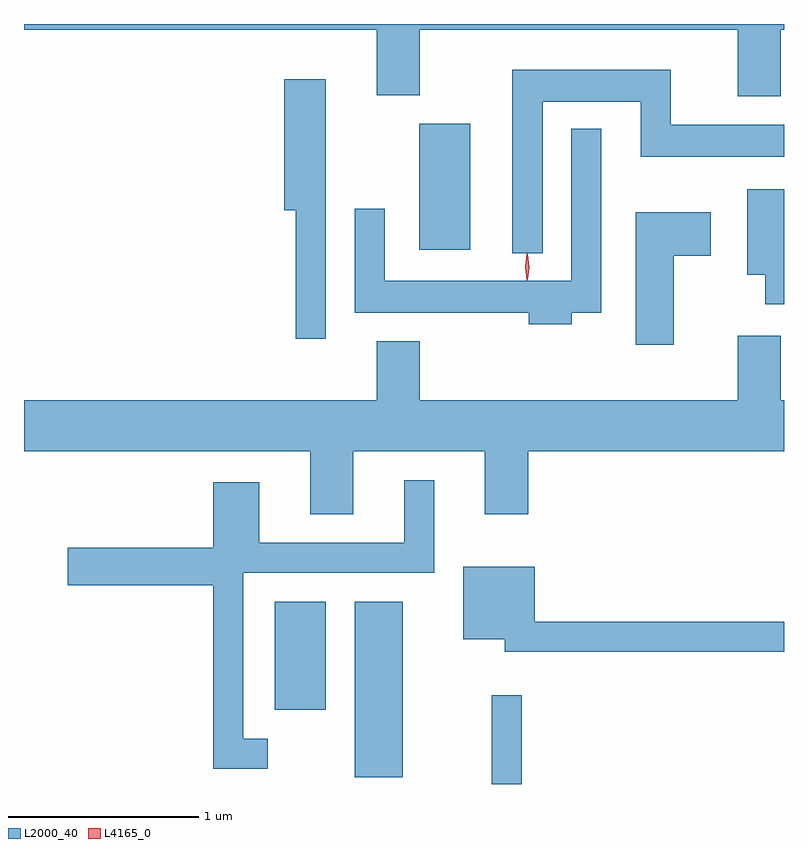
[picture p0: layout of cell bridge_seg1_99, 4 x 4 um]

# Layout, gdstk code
import gdstk
lib = gdstk.Library(unit=1e-6, precision=1e-09)
def R(c, l, rs):  # rectangles x0, y0, x1, y1
    for r in rs: c.add(gdstk.rectangle(r[:2], r[2:], *l))
def P(c, l, *ps):  # polygons
    for p in ps: c.add(gdstk.Polygon(p, *l))
L2000_40 = (2000, 40)
L4165_0 = (4165, 0)

bridge_seg1_99 = lib.new_cell('bridge_seg1_99')
R(bridge_seg1_99, L2000_40, [(1249.796,862.305,1249.954,862.773), (1249.076,862.341,1249.329,863.264), (1248.656,862.696,1248.924,863.264), (1249.416,865.116,1249.684,865.779)])
P(bridge_seg1_99, L2000_40, [(1251.319,866.276),(1251.335,866.276),(1251.335,866.305),(1247.335,866.305),(1247.335,866.276),(1249.191,866.276),(1249.191,865.931),(1249.419,865.931),(1249.419,866.276),(1251.091,866.276),(1251.091,865.926),(1251.319,865.926)],
  [(1250.064,865.896),(1250.581,865.896),(1250.581,865.606),(1251.335,865.606),(1251.335,865.774),(1250.739,865.774),(1250.739,866.064),(1249.906,866.064),(1249.906,865.098),(1250.064,865.098)],
  [(1248.924,866.014),(1248.706,866.014),(1248.706,865.326),(1248.766,865.326),(1248.766,864.648),(1248.924,864.648)],
  [(1250.219,864.786),(1250.374,864.786),(1250.374,865.753),(1250.216,865.753),(1250.216,864.954),(1249.234,864.954),(1249.234,865.333),(1249.076,865.333),(1249.076,864.786),(1249.991,864.786),(1249.991,864.726),(1250.219,864.726)],
  [(1251.335,865.434),(1251.141,865.434),(1251.141,864.986),(1251.236,864.986),(1251.236,864.831),(1251.335,864.831)],
  [(1250.754,865.086),(1250.949,865.086),(1250.949,865.314),(1250.556,865.314),(1250.556,864.616),(1250.754,864.616)],
  [(1249.069,864.056),(1249.761,864.056),(1249.761,863.726),(1249.989,863.726),(1249.989,864.056),(1251.335,864.056),(1251.335,864.324),(1251.319,864.324),(1251.319,864.664),(1251.091,864.664),(1251.091,864.324),(1249.419,864.324),(1249.419,864.634),(1249.191,864.634),(1249.191,864.324),(1247.335,864.324),(1247.335,864.056),(1248.841,864.056),(1248.841,863.726),(1249.069,863.726)],
  [(1248.618,862.544),(1248.489,862.544),(1248.489,863.416),(1249.494,863.416),(1249.494,863.903),(1249.336,863.903),(1249.336,863.574),(1248.574,863.574),(1248.574,863.894),(1248.331,863.894),(1248.331,863.549),(1247.566,863.549),(1247.566,863.351),(1248.331,863.351),(1248.331,862.386),(1248.618,862.386)],
  [(1251.335,863.159),(1250.024,863.159),(1250.024,863.449),(1249.646,863.449),(1249.646,863.066),(1249.866,863.066),(1249.866,863.001),(1251.335,863.001)])
P(bridge_seg1_99, L4165_0, [(1249.982,864.957),(1249.982,864.957),(1249.972,865.027),(1249.982,865.096),(1249.982,865.096),(1249.983,865.096),(1249.992,865.027),(1249.983,864.957)],
  [(1249.985,864.959),(1249.984,864.96),(1249.975,865.026),(1249.984,865.092),(1249.985,865.093),(1249.985,865.092),(1249.995,865.026),(1249.985,864.96)])

lib.write_gds('bridge_seg1_99.gds')
